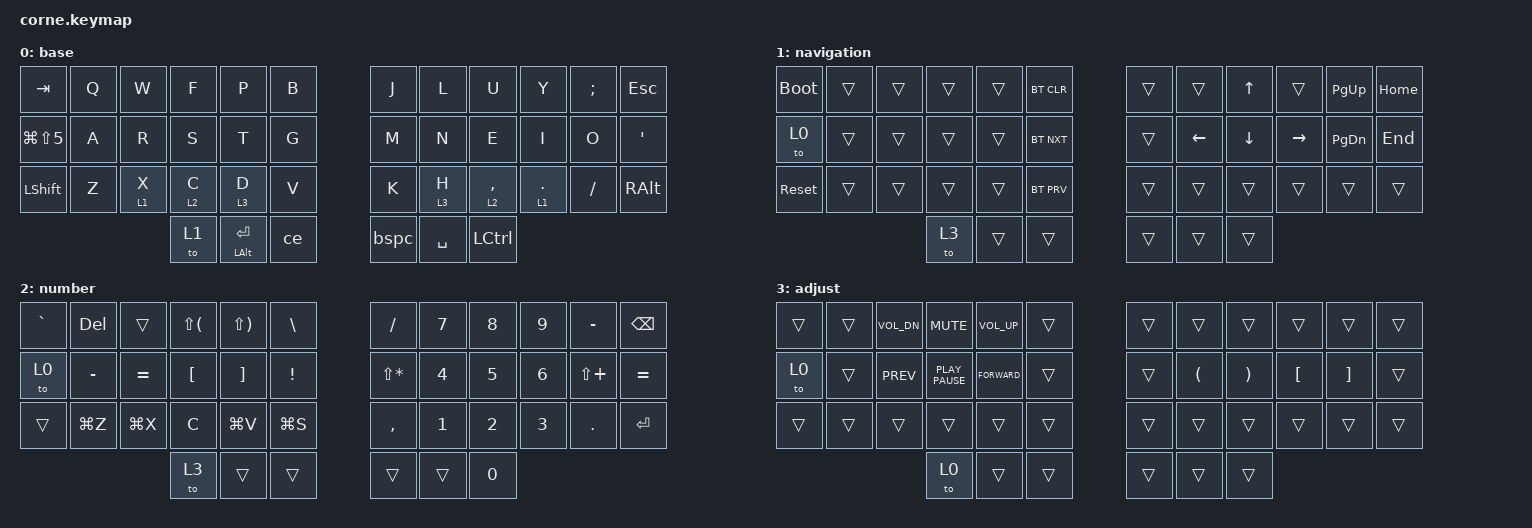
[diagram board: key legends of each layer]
/*
 * Copyright (c) 2020 The ZMK Contributors
 *
 * SPDX-License-Identifier: MIT
 */

#include <behaviors.dtsi>
#include <dt-bindings/zmk/bt.h>
#include <dt-bindings/zmk/keys.h>

/ {
    behaviors {
        tp: tap_preferred {
            compatible = "zmk,behavior-hold-tap";
            label = "TAP_PREFERRED";
            #binding-cells = <2>;
            tapping-term-ms = <150>;
            quick-tap-ms = <0>;
            flavor = "tap-preferred";
            bindings = <&kp>, <&kp>;
        };

        ce: ce {
            compatible = "zmk,behavior-tap-dance";
            label = "CE";
            #binding-cells = <0>;
            bindings = <&kp LEFT_GUI>, <&kp LG(ENTER)>;
        };

        bspc: bspc {
            compatible = "zmk,behavior-mod-morph";
            label = "BSPC";
            bindings = <&kp BACKSPACE>, <&kp LA(BACKSPACE)>;

            #binding-cells = <0>;
            mods = <(MOD_LSFT)>;
        };
    };

    combos {
        compatible = "zmk,combos";

        combo_right {
            bindings = <&wr>;
            key-positions = <38 19 39>;
        };

        combo_left {
            bindings = <&wl>;
            key-positions = <38 39 16>;
        };

        combo_pwd {
            bindings = <&pwd>;
            key-positions = <12 23>;
        };

        combo_bootleft {
            bindings = <&bootloader>;
            key-positions = <12 36>;
        };

        combo_bootloaderright {
            bindings = <&bootloader>;
            key-positions = <41 23>;
        };

        combo_email {
            bindings = <&email>;
            key-positions = <24 35>;
        };

        combo_fullscreen {
            bindings = <&kp LC(LA(ENTER))>;
            key-positions = <38 39 19 16>;
        };

        combo_gadd {
            bindings = <&gadd>;
            key-positions = <15 38>;
        };

        combo_gpush {
            bindings = <&gpush>;
            key-positions = <39 20>;
        };
    };

    macros {
        wl: wl {
            compatible = "zmk,behavior-macro";
            #binding-cells = <0>;
            bindings = <&kp LC(LA(LEFT))>;
            label = "WL";
        };

        wr: wr {
            compatible = "zmk,behavior-macro";
            #binding-cells = <0>;
            bindings = <&kp LC(LA(RIGHT))>;
            label = "WR";
        };

        pwd: pwd {
            compatible = "zmk,behavior-macro";
            #binding-cells = <0>;
            bindings = <&kp LS(F) &kp LS(T) &kp LS(W) &kp N2 &kp N0 &kp N2 &kp N1 &kp DLLR>;
            label = "PWD";
        };

        email: email {
            compatible = "zmk,behavior-macro";
            #binding-cells = <0>;
            bindings = <&kp E &kp C &kp A &kp M &kp B &kp R &kp O &kp N &kp E &kp R &kp O &kp S &kp A &kp B &kp A &kp AT &kp N &kp E &kp T &kp F &kp L &kp I &kp X &kp DOT &kp C &kp O &kp M>;
            label = "EMAIL";
        };

        gadd: gadd {
            compatible = "zmk,behavior-macro";
            #binding-cells = <0>;
            bindings = <&none &kp G &kp I &kp T &kp SPACE &kp A &kp D &kp D &kp SPACE &kp DOT &kp SEMI &kp SPACE &kp G &kp I &kp T &kp SPACE &kp C &kp O &kp M &kp M &kp I &kp T &kp SPACE &kp MINUS &kp M &kp SPACE &kp DQT>;
            label = "GADD";
        };

        gpush: gpush {
            compatible = "zmk,behavior-macro";
            #binding-cells = <0>;
            bindings = <&none &kp DQT &kp SEMI &kp SPACE &kp G &kp I &kp T &kp SPACE &kp P &kp U &kp S &kp H>;
            label = "GPUSH";
        };
    };

    keymap {
        compatible = "zmk,keymap";

        default_layer {
            // -----------------------------------------------------------------------------------------
            // | TAB  |  Q  |  W  |  E  |  R  |    T    |   |  Y  |  U   |  I  |  O  |  P  | ESC |
            // | CTRL |  A  |  S  |  D  |  F  |    G    |   |  H  |  J   |  K  |  L  |  ;  |  '   |
            // | SHFT |  Z  |  X  |  C  |  V  |    B    |   |  N  |  M   |  ,  |  .  |  /  | SHFT |
            //                    | GUI | LWR | ALT/ENT |   | HYPER/SPC | BKSP  | RSE |

            bindings = <
&kp TAB         &kp Q  &kp W    &kp F    &kp P                &kp B    &kp J  &kp L      &kp U        &kp Y         &kp SEMICOLON  &kp ESCAPE
&kp LG(LS(N5))  &kp A  &kp R    &kp S    &kp T                &kp G    &kp M  &kp N      &kp E        &kp I         &kp O          &kp SINGLE_QUOTE
&kp LEFT_SHIFT  &kp Z  &lt 1 X  &lt 2 C  &lt 3 D              &kp V    &kp K  &lt 3 H    &lt 2 COMMA  &lt 1 PERIOD  &kp FSLH       &kp RIGHT_ALT
                                &to 1    &mt LEFT_ALT RETURN  &ce      &bspc  &kp SPACE  &kp LCTRL
            >;

            label = "base";
        };

        nav {
            bindings = <
&bootloader  &trans  &trans  &trans  &trans  &bt BT_CLR    &trans  &trans    &kp UP    &trans     &kp PAGE_UP    &kp HOME
&to 0        &trans  &trans  &trans  &trans  &bt BT_NXT    &trans  &kp LEFT  &kp DOWN  &kp RIGHT  &kp PAGE_DOWN  &kp END
&sys_reset   &trans  &trans  &trans  &trans  &bt BT_PRV    &trans  &trans    &trans    &trans     &trans         &trans
                             &to 3   &trans  &trans        &trans  &trans    &trans
            >;

            label = "navigation";
        };

        number {
            bindings = <
&kp GRAVE  &kp DEL    &trans     &kp LS(LPAR)  &kp LS(RPAR)  &kp BSLH           &kp FSLH      &kp N7  &kp N8  &kp N9  &kp MINUS     &kp BSPC
&to 0      &kp MINUS  &kp EQUAL  &kp LBKT      &kp RBKT      &kp EXCLAMATION    &kp LS(STAR)  &kp N4  &kp N5  &kp N6  &kp LS(PLUS)  &kp EQUAL
&trans     &kp LG(Z)  &kp LG(X)  &kp C         &kp LG(V)     &kp LG(S)          &kp COMMA     &kp N1  &kp N2  &kp N3  &kp DOT       &kp RET
                                 &to 3         &trans        &trans             &trans        &trans  &kp N0
            >;

            label = "number";
        };

        adjust {
            bindings = <
&trans  &trans  &kp K_VOL_DN  &kp K_MUTE        &kp K_VOLUME_UP  &trans    &trans  &trans                &trans                 &trans            &trans             &trans
&to 0   &trans  &kp K_PREV    &kp K_PLAY_PAUSE  &kp K_FORWARD    &trans    &trans  &kp LEFT_PARENTHESIS  &kp RIGHT_PARENTHESIS  &kp LEFT_BRACKET  &kp RIGHT_BRACKET  &trans
&trans  &trans  &trans        &trans            &trans           &trans    &trans  &trans                &trans                 &trans            &trans             &trans
                              &to 0             &trans           &trans    &trans  &trans                &trans
            >;

            label = "adjust";
        };
    };
};
